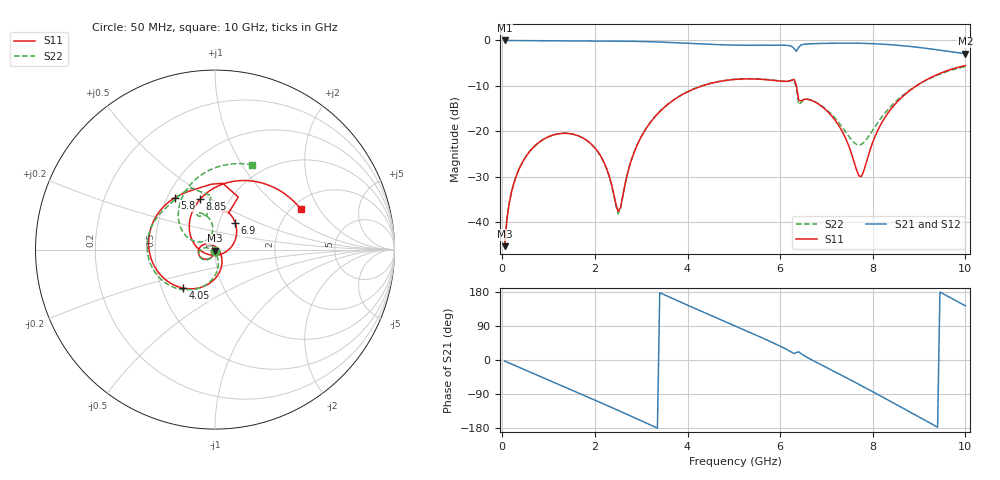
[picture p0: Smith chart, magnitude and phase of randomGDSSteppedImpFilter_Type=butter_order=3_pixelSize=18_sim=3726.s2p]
! freq	dB(S11)	phase(S11)	dB(S12)	phase(S12)
!  dB(S21)	phase(S21)	dB(S22)	phase(S22)
!S-par simulation data
#  GHz  S  DB  R 50
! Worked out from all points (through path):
!   200 points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, 50 MHz to 10 GHz, reference 50 ohm
!   highest |S21| = -0.01 dB at 50 MHz (marker M1); lowest = -2.9 dB at 10 GHz (marker M2)
!   group delay of S21, straight-line fit = 158 ps
!   lowest |S11| = -45.3 dB at 50 MHz (marker M3), VSWR 1.01, Z = 50 - j0.542 ohm
!   |S11| at or under -10 dB: start of sweep to 4.323 GHz; 6.352 GHz to 8.942 GHz (2.59 GHz wide, 33.9 % of centre)
!   |S22| runs from -45.3 to -5.7 dB; largest |S21 - S12| = 0
!   S11 on the Smith chart (normalised r, x): 50 MHz: 1.00, -0.01; 4.05 GHz: 0.64, -0.30; 5.8 GHz: 0.55, +0.37; 6.9 GHz: 1.19, +0.37; 8.85 GHz: 0.73, +0.45; 10 GHz: 2.24, +1.39
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0.05  -45.32 -92.0  -0.01 -2.7  -0.01 -2.7  -45.31 -91.8
0.2  -33.33 -100.8  -0.02 -10.7  -0.02 -10.7  -33.33 -99.9
0.55  -25.00 -120.6  -0.05 -29.3  -0.05 -29.3  -24.98 -117.9
1.1  -20.83 -151.9  -0.10 -58.3  -0.10 -58.3  -20.83 -146.1
1.75  -21.54 169.9  -0.14 -92.6  -0.14 -92.6  -21.56 -177.0
2.2  -26.94 136.7  -0.14 -116.6  -0.14 -116.6  -27.02 167.8
2.5  -37.68 54.8  -0.16 -132.9  -0.16 -132.9  -38.16 -140.9
2.85  -24.56 -51.0  -0.20 -152.1  -0.20 -152.1  -24.50 -73.8
3.4  -15.69 -90.8  -0.36 177.6  -0.36 177.6  -15.64 -95.0
4.05  -11.09 -129.9  -0.65 142.0  -0.65 142.0  -11.05 -126.7
5.05  -8.57 172.6  -1.04 88.6  -1.04 88.6  -8.52 -175.0
5.8  -8.75 127.7  -1.05 48.0  -1.05 48.0  -8.69 149.1
6.35  -9.90 66.1  -2.41 19.7  -2.41 19.7  -10.44 94.0
6.4  -13.17 69.4  -1.50 21.5  -1.50 21.5  -14.10 103.5
6.7  -13.29 67.9  -0.72 -0.8  -0.72 -0.8  -13.27 110.7
6.9  -14.56 53.1  -0.66 -13.4  -0.66 -13.4  -14.44 103.2
7.3  -19.31 17.6  -0.59 -38.5  -0.59 -38.5  -18.53 95.9
7.75  -29.99 -96.9  -0.63 -67.4  -0.63 -67.4  -22.91 133.5
8.35  -15.68 147.8  -0.92 -107.0  -0.92 -107.0  -14.96 154.7
8.85  -10.65 106.2  -1.37 -140.4  -1.37 -140.4  -10.57 133.4
9.4  -7.48 65.5  -2.08 -177.3  -2.08 -177.3  -7.63 102.7
10  -5.54 25.1  -2.93 142.9  -2.93 142.9  -5.75 66.3
